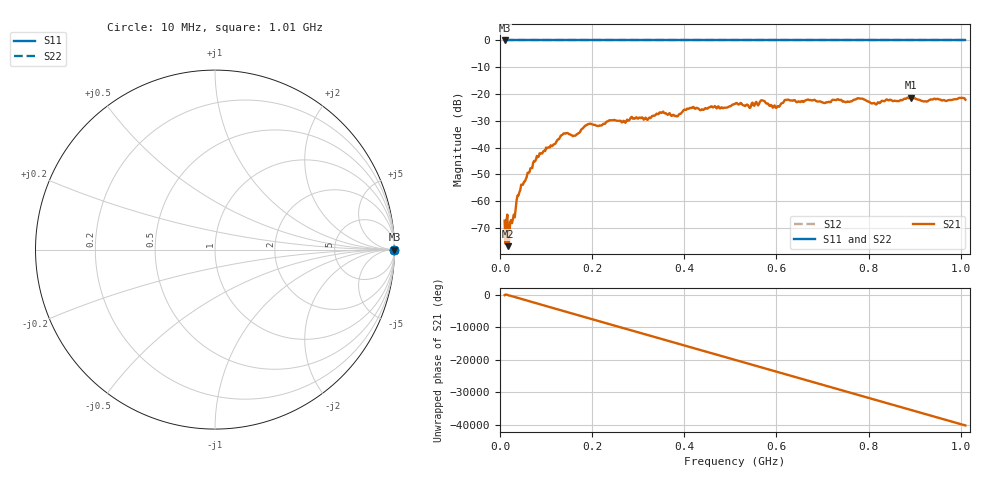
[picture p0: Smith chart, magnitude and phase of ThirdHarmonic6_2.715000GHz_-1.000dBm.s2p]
! 8/17/2025 6:35:13 AM
! C:\ANRITSUVNA\TEMP\TEMP.S2P
! CHANNEL.1
! TR.MEASUREMENT
! RAW.DATA
! RF.CORRECTION.OFF
! AVERAGING.OFF
! IF.BANDWIDTH: 5KHZ
! SWEEPTYPE:  FREQ.SWEEP(Linear)
! Reference Plane Port Info
! PORT:  PORT1  PORT2
! DISTANCE:  0  m  0  m
! TIME:  0  s  0  s
! PHASE.OFFSET:  0  deg.  0  deg.
! LOSS:  0  dB  0  dB
! REF.LOSS:  0  dB  0  dB
! REF.FREQ:  0  Hz  0  Hz
! Power Info
! POWER:  -20  dBm  -20  dBm
! EFF.POWER:  -20  dBm  -20  dBm
! SOURCE.ATTEN:  0  dB  0  dB
! TEST.ATTEN:  0  dB  0  dB
# GHZ S RI R 50.0
! FREQ.GHZ  S11RE  S11IM  S21RE  S21IM  S12RE  S12IM  S22RE  S22IM
!; PortSelection: Port_12
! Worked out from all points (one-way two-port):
!   501 points, 10 MHz to 1.01 GHz, reference 50 ohm
!   highest |S21| = -21.30 dB at 892 MHz (marker M1); lowest = -76.7 dB at 18 MHz (marker M2)
!   lowest |S11| = 0.0 dB at 10 MHz (marker M3)
!   |S11| at or under -10 dB: nowhere
!   |S22| runs from 0.0 to 0.0 dB; largest |S21 - S12| = 1.1
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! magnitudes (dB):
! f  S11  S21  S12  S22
! 10 MHz  0.0  -67.2  0.0  0.0
! 12 MHz  0.0  -75.8  0.0  0.0
! 16 MHz  0.0  -65.0  0.0  0.0
! 18 MHz  0.0  -76.7  0.0  0.0
! 22 MHz  0.0  -67.8  0.0  0.0
! 42 MHz  0.0  -56.6  0.0  0.0
! 76 MHz  0.0  -45.1  0.0  0.0
! 136 MHz  0.0  -35.1  0.0  0.0
! 162 MHz  0.0  -35.5  0.0  0.0
! 178 MHz  0.0  -33.0  0.0  0.0
! 344 MHz  0.0  -27.5  0.0  0.0
! 382 MHz  0.0  -28.1  0.0  0.0
! 416 MHz  0.0  -25.2  0.0  0.0
! 510 MHz  0.0  -23.6  0.0  0.0
! 540 MHz  0.0  -24.7  0.0  0.0
! 570 MHz  0.0  -22.4  0.0  0.0
! 602 MHz  0.0  -24.5  0.0  0.0
! 622 MHz  0.0  -22.2  0.0  0.0
! 678 MHz  0.0  -22.4  0.0  0.0
! 844 MHz  0.0  -22.3  0.0  0.0
! 892 MHz  0.0  -21.3  0.0  0.0
! 1.01 GHz  0.0  -22.1  0.0  0.0
